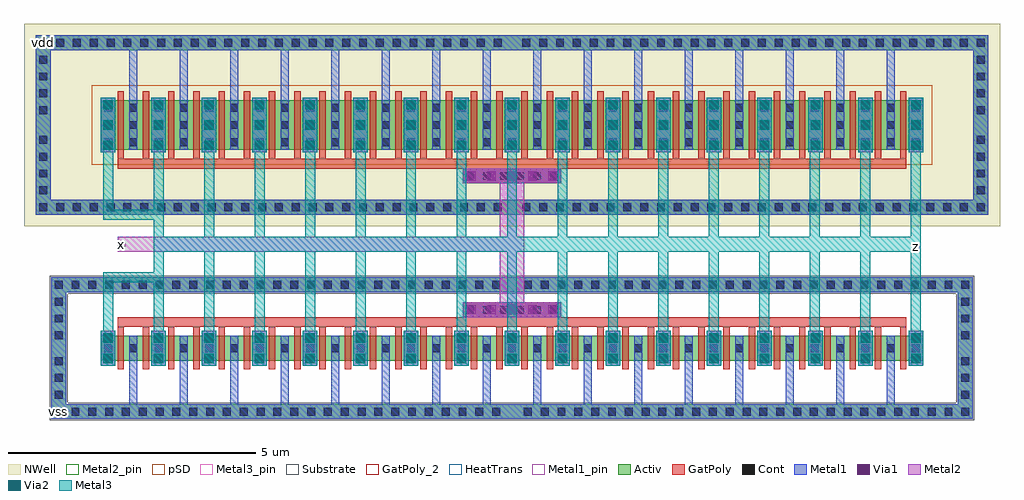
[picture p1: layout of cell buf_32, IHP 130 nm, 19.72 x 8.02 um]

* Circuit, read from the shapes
.subckt buf_32 vdd vss x z
XM1 vss x z vss sg13_lv_nmos w=0.5u l=0.13u m=32
XM2 vdd x z vdd sg13_lv_pmos w=1u l=0.13u m=32
.ends

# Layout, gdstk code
import gdstk
lib = gdstk.Library(unit=1e-6, precision=1e-09)
def R(c, l, rs):  # rectangles x0, y0, x1, y1
    for r in rs: c.add(gdstk.rectangle(r[:2], r[2:], *l))
def A(c, l, x, y, w, h, nx, ny, dx, dy):  # array of equal rectangles
    R(c, l, [(x+i*dx, y+j*dy, x+i*dx+w, y+j*dy+h) for i in range(nx) for j in range(ny)])
def P(c, l, *ps):  # polygons
    for p in ps: c.add(gdstk.Polygon(p, *l))
Activ = (1, 0)
GatPoly = (5, 0)
GatPoly_2 = (5, 2)
Cont = (6, 0)
Metal1 = (8, 0)
Metal1_pin = (8, 2)
Metal2 = (10, 0)
Metal2_pin = (10, 2)
pSD = (14, 0)
Via1 = (19, 0)
Via2 = (29, 0)
Metal3 = (30, 0)
Metal3_pin = (30, 2)
NWell = (31, 0)
Substrate = (40, 0)
HeatTrans = (51, 0)

pmos_5 = lib.new_cell('pmos$5')
A(pmos_5, Activ, 0, 0, 0.3, 0.3, 33, 1, 0.51, 0)
R(pmos_5, Activ, [(-1.31,-1.01,-1.01,2.01), (17.63,-1.01,17.93,2.01), (0,0,16.62,1), (-1.31,2.01,17.93,2.31)])
P(pmos_5, Activ, [(-1.31,-1.31),(-1.31,2.01),(-1.01,2.01),(-1.01,-1.01),(17.63,-1.01),(17.63,2.01),(-1.31,2.01),(-1.31,2.31),(17.93,2.31),(17.93,-1.31)])
A(pmos_5, GatPoly, 0.34, -0.18, 0.13, 1.36, 32, 1, 0.51, 0)
R(pmos_5, GatPoly, [(0.34,-0.18,0.47,1.18)])
A(pmos_5, Cont, -1.24, -1.24, 0.16, 0.16, 28, 2, 0.34, 3.32)
A(pmos_5, Cont, 8.52, -1.24, 0.16, 0.16, 28, 2, 0.34, 3.32)
A(pmos_5, Cont, -1.24, -0.9, 0.16, 0.16, 1, 4, 0, 0.34)
A(pmos_5, Cont, 17.7, -0.9, 0.16, 0.16, 1, 4, 0, 0.34)
A(pmos_5, Cont, 0.07, 0.07, 0.16, 0.16, 33, 3, 0.51, 0.35)
A(pmos_5, Cont, -1.24, 0.72, 0.16, 0.16, 1, 4, 0, 0.34)
A(pmos_5, Cont, 17.7, 0.72, 0.16, 0.16, 1, 4, 0, 0.34)
A(pmos_5, Metal1, 0.58, 0, 0.16, 1, 32, 1, 0.51, 0)
R(pmos_5, Metal1, [(-1.31,-1.31,17.93,-1.01), (-1.31,-1.01,-1.01,2.01), (17.63,-1.01,17.93,2.01), (0.07,0,0.23,1), (0.07,0,0.23,1), (0.58,0,0.74,1), (-1.31,2.01,17.93,2.31)])
R(pmos_5, pSD, [(-0.18,-0.3,16.8,1.3)])
R(pmos_5, NWell, [(-1.55,-1.55,18.17,2.55), (-0.31,-0.31,16.93,1.31)])
R(pmos_5, Substrate, [(16.32,0,16.62,0.3)])
A(pmos_5, HeatTrans, 0.34, -0.18, 0.13, 1.36, 32, 1, 0.51, 0)
pmos_5.add(gdstk.Label('pmos', (0.405,0.5), layer=63, texttype=0))
pmos_5.add(gdstk.Label('well', (8.31,-1.16), layer=63, texttype=0))
pmos_5.add(gdstk.Label('pmos', (0.405,0.5), layer=51, texttype=0))
pmos_5.add(gdstk.Label('pmos', (0.915,0.5), layer=51, texttype=0))
pmos_5.add(gdstk.Label('pmos', (1.425,0.5), layer=51, texttype=0))
pmos_5.add(gdstk.Label('pmos', (1.935,0.5), layer=51, texttype=0))
pmos_5.add(gdstk.Label('pmos', (2.445,0.5), layer=51, texttype=0))
pmos_5.add(gdstk.Label('pmos', (2.955,0.5), layer=51, texttype=0))
pmos_5.add(gdstk.Label('pmos', (3.465,0.5), layer=51, texttype=0))
pmos_5.add(gdstk.Label('pmos', (3.975,0.5), layer=51, texttype=0))
pmos_5.add(gdstk.Label('pmos', (4.485,0.5), layer=51, texttype=0))
pmos_5.add(gdstk.Label('pmos', (4.995,0.5), layer=51, texttype=0))
pmos_5.add(gdstk.Label('pmos', (5.505,0.5), layer=51, texttype=0))
pmos_5.add(gdstk.Label('pmos', (6.015,0.5), layer=51, texttype=0))
pmos_5.add(gdstk.Label('pmos', (6.525,0.5), layer=51, texttype=0))
pmos_5.add(gdstk.Label('pmos', (7.035,0.5), layer=51, texttype=0))
pmos_5.add(gdstk.Label('pmos', (7.545,0.5), layer=51, texttype=0))
pmos_5.add(gdstk.Label('pmos', (8.055,0.5), layer=51, texttype=0))
pmos_5.add(gdstk.Label('pmos', (8.565,0.5), layer=51, texttype=0))
pmos_5.add(gdstk.Label('pmos', (9.075,0.5), layer=51, texttype=0))
pmos_5.add(gdstk.Label('pmos', (9.585,0.5), layer=51, texttype=0))
pmos_5.add(gdstk.Label('pmos', (10.095,0.5), layer=51, texttype=0))
pmos_5.add(gdstk.Label('pmos', (10.605,0.5), layer=51, texttype=0))
pmos_5.add(gdstk.Label('pmos', (11.115,0.5), layer=51, texttype=0))
pmos_5.add(gdstk.Label('pmos', (11.625,0.5), layer=51, texttype=0))
pmos_5.add(gdstk.Label('pmos', (12.135,0.5), layer=51, texttype=0))
pmos_5.add(gdstk.Label('pmos', (12.645,0.5), layer=51, texttype=0))
pmos_5.add(gdstk.Label('pmos', (13.155,0.5), layer=51, texttype=0))
pmos_5.add(gdstk.Label('pmos', (13.665,0.5), layer=51, texttype=0))
pmos_5.add(gdstk.Label('pmos', (14.175,0.5), layer=51, texttype=0))
pmos_5.add(gdstk.Label('pmos', (14.685,0.5), layer=51, texttype=0))
pmos_5.add(gdstk.Label('pmos', (15.195,0.5), layer=51, texttype=0))
pmos_5.add(gdstk.Label('pmos', (15.705,0.5), layer=51, texttype=0))
pmos_5.add(gdstk.Label('pmos', (16.215,0.5), layer=51, texttype=0))

nmos_10 = lib.new_cell('nmos$10')
A(nmos_10, Activ, 0, 0, 0.3, 0.3, 33, 1, 0.51, 0)
R(nmos_10, Activ, [(-1,-0.88,-0.7,1.38), (17.32,-0.88,17.62,1.38), (0,0,16.62,0.5), (-1,1.38,17.62,1.68)])
P(nmos_10, Activ, [(-1,-1.18),(-1,1.38),(-0.7,1.38),(-0.7,-0.88),(17.32,-0.88),(17.32,1.38),(-1,1.38),(-1,1.68),(17.62,1.68),(17.62,-1.18)])
A(nmos_10, GatPoly, 0.34, -0.18, 0.13, 0.86, 32, 1, 0.51, 0)
R(nmos_10, GatPoly_2, [(0.34,-0.18,0.47,0.68)])
A(nmos_10, Cont, -0.93, -1.11, 0.16, 0.16, 27, 2, 0.34, 2.56)
A(nmos_10, Cont, 8.55, -1.11, 0.16, 0.16, 27, 2, 0.34, 2.56)
A(nmos_10, Cont, -0.93, -0.77, 0.16, 0.16, 1, 3, 0, 0.34)
A(nmos_10, Cont, 17.39, -0.77, 0.16, 0.16, 1, 3, 0, 0.34)
A(nmos_10, Cont, 0.07, 0.17, 0.16, 0.16, 33, 1, 0.51, 0)
A(nmos_10, Cont, -0.93, 0.43, 0.16, 0.16, 1, 3, 0, 0.34)
A(nmos_10, Cont, 17.39, 0.43, 0.16, 0.16, 1, 3, 0, 0.34)
A(nmos_10, Metal1, 0.07, 0, 0.16, 0.5, 33, 1, 0.51, 0)
R(nmos_10, Metal1, [(-1,-1.18,17.62,-0.88), (-1,-0.88,-0.7,1.38), (17.32,-0.88,17.62,1.38), (-1,1.38,17.62,1.68)])
R(nmos_10, Metal1_pin, [(0.07,0,0.23,0.5), (0.58,0,0.74,0.5)])
R(nmos_10, pSD, [(-1.03,-0.85,-0.67,1.35), (17.29,-0.85,17.65,1.35), (-1.03,1.35,17.65,1.71)])
P(nmos_10, pSD, [(-1.03,-1.21),(-1.03,1.35),(-0.67,1.35),(-0.67,-0.85),(17.29,-0.85),(17.29,1.35),(-1.03,1.35),(-1.03,1.71),(17.65,1.71),(17.65,-1.21)])
R(nmos_10, Substrate, [(-1.03,-0.85,-0.67,1.35), (17.29,-0.85,17.65,1.35), (-1.03,1.35,17.65,1.71)])
P(nmos_10, Substrate, [(-1.03,-1.21),(-1.03,1.35),(-0.67,1.35),(-0.67,-0.85),(17.29,-0.85),(17.29,1.35),(-1.03,1.35),(-1.03,1.71),(17.65,1.71),(17.65,-1.21)])
A(nmos_10, HeatTrans, 0.34, -0.18, 0.13, 0.86, 32, 1, 0.51, 0)
nmos_10.add(gdstk.Label('nmos', (0.405,0.25), layer=63, texttype=0))
nmos_10.add(gdstk.Label('sub!', (8.31,-1.03), layer=63, texttype=0))
nmos_10.add(gdstk.Label('nmos', (0.405,0.25), layer=51, texttype=0))
nmos_10.add(gdstk.Label('nmos', (0.915,0.25), layer=51, texttype=0))
nmos_10.add(gdstk.Label('nmos', (1.425,0.25), layer=51, texttype=0))
nmos_10.add(gdstk.Label('nmos', (1.935,0.25), layer=51, texttype=0))
nmos_10.add(gdstk.Label('nmos', (2.445,0.25), layer=51, texttype=0))
nmos_10.add(gdstk.Label('nmos', (2.955,0.25), layer=51, texttype=0))
nmos_10.add(gdstk.Label('nmos', (3.465,0.25), layer=51, texttype=0))
nmos_10.add(gdstk.Label('nmos', (3.975,0.25), layer=51, texttype=0))
nmos_10.add(gdstk.Label('nmos', (4.485,0.25), layer=51, texttype=0))
nmos_10.add(gdstk.Label('nmos', (4.995,0.25), layer=51, texttype=0))
nmos_10.add(gdstk.Label('nmos', (5.505,0.25), layer=51, texttype=0))
nmos_10.add(gdstk.Label('nmos', (6.015,0.25), layer=51, texttype=0))
nmos_10.add(gdstk.Label('nmos', (6.525,0.25), layer=51, texttype=0))
nmos_10.add(gdstk.Label('nmos', (7.035,0.25), layer=51, texttype=0))
nmos_10.add(gdstk.Label('nmos', (7.545,0.25), layer=51, texttype=0))
nmos_10.add(gdstk.Label('nmos', (8.055,0.25), layer=51, texttype=0))
nmos_10.add(gdstk.Label('nmos', (8.565,0.25), layer=51, texttype=0))
nmos_10.add(gdstk.Label('nmos', (9.075,0.25), layer=51, texttype=0))
nmos_10.add(gdstk.Label('nmos', (9.585,0.25), layer=51, texttype=0))
nmos_10.add(gdstk.Label('nmos', (10.095,0.25), layer=51, texttype=0))
nmos_10.add(gdstk.Label('nmos', (10.605,0.25), layer=51, texttype=0))
nmos_10.add(gdstk.Label('nmos', (11.115,0.25), layer=51, texttype=0))
nmos_10.add(gdstk.Label('nmos', (11.625,0.25), layer=51, texttype=0))
nmos_10.add(gdstk.Label('nmos', (12.135,0.25), layer=51, texttype=0))
nmos_10.add(gdstk.Label('nmos', (12.645,0.25), layer=51, texttype=0))
nmos_10.add(gdstk.Label('nmos', (13.155,0.25), layer=51, texttype=0))
nmos_10.add(gdstk.Label('nmos', (13.665,0.25), layer=51, texttype=0))
nmos_10.add(gdstk.Label('nmos', (14.175,0.25), layer=51, texttype=0))
nmos_10.add(gdstk.Label('nmos', (14.685,0.25), layer=51, texttype=0))
nmos_10.add(gdstk.Label('nmos', (15.195,0.25), layer=51, texttype=0))
nmos_10.add(gdstk.Label('nmos', (15.705,0.25), layer=51, texttype=0))
nmos_10.add(gdstk.Label('nmos', (16.215,0.25), layer=51, texttype=0))

via_6 = lib.new_cell('Via$6')
R(via_6, GatPoly, [(-1,-0.15,1,0.15)])
A(via_6, Cont, -0.93, -0.08, 0.16, 0.16, 6, 1, 0.34, 0)
R(via_6, Metal1, [(-1,-0.15,1,0.15)])

via_5 = lib.new_cell('Via$5')
R(via_5, Metal1, [(-1,-0.15,1,0.15)])
R(via_5, Metal2, [(-1,-0.15,1,0.15)])
A(via_5, Via1, -0.915, -0.095, 0.19, 0.19, 5, 1, 0.41, 0)

via_stack_8 = lib.new_cell('via_stack$8')
R(via_stack_8, Metal1, [(-0.145,-0.555,0.145,0.555)])
R(via_stack_8, Metal2, [(-0.145,-0.555,0.145,0.555)])
A(via_stack_8, Via1, -0.095, -0.505, 0.19, 0.19, 1, 3, 0, 0.41)
A(via_stack_8, Via2, -0.095, -0.505, 0.19, 0.19, 1, 3, 0, 0.41)
R(via_stack_8, Metal3, [(-0.145,-0.555,0.145,0.555)])

via_stack_7 = lib.new_cell('via_stack$7')
R(via_stack_7, Metal1, [(-0.145,-0.35,0.145,0.35)])
R(via_stack_7, Metal2, [(-0.145,-0.35,0.145,0.35)])
R(via_stack_7, Via1, [(-0.095,-0.3,0.095,-0.11), (-0.095,0.11,0.095,0.3)])
R(via_stack_7, Via2, [(-0.095,-0.3,0.095,-0.11), (-0.095,0.11,0.095,0.3)])
R(via_stack_7, Metal3, [(-0.145,-0.35,0.145,0.35)])

buf_32 = lib.new_cell('buf_32')
R(buf_32, Metal1_pin, [(0.635,0.115,0.765,0.245), (0.325,7.565,0.455,7.695)])
R(buf_32, Metal2_pin, [(1.915,3.495,2.045,3.625)])
R(buf_32, Metal3_pin, [(17.955,3.455,18.085,3.585)])
buf_32.add(gdstk.FlexPath([(1.89,3.56),(10.11,3.56)], 0.3, ends="flush", simple_path=True, layer=10, datatype=0))  # Metal2
buf_32.add(gdstk.FlexPath([(9.86,2.24),(9.86,4.94)], 0.5, ends="flush", simple_path=True, layer=10, datatype=0))  # Metal2
buf_32.add(gdstk.FlexPath([(1.7,5.47),(1.7,4.16),(2.8,4.16)], 0.2, ends="flush", simple_path=True, layer=30, datatype=0))  # Metal3
buf_32.add(gdstk.FlexPath([(2.72,5.47),(2.72,1.71)], 0.2, ends="flush", simple_path=True, layer=30, datatype=0))  # Metal3
buf_32.add(gdstk.FlexPath([(3.74,5.47),(3.74,1.71)], 0.2, ends="flush", simple_path=True, layer=30, datatype=0))  # Metal3
buf_32.add(gdstk.FlexPath([(4.76,5.47),(4.76,1.71)], 0.2, ends="flush", simple_path=True, layer=30, datatype=0))  # Metal3
buf_32.add(gdstk.FlexPath([(5.78,5.47),(5.78,1.71)], 0.2, ends="flush", simple_path=True, layer=30, datatype=0))  # Metal3
buf_32.add(gdstk.FlexPath([(6.8,5.47),(6.8,1.71)], 0.2, ends="flush", simple_path=True, layer=30, datatype=0))  # Metal3
buf_32.add(gdstk.FlexPath([(7.82,5.47),(7.82,1.71)], 0.2, ends="flush", simple_path=True, layer=30, datatype=0))  # Metal3
buf_32.add(gdstk.FlexPath([(8.84,5.47),(8.84,1.71)], 0.2, ends="flush", simple_path=True, layer=30, datatype=0))  # Metal3
buf_32.add(gdstk.FlexPath([(9.86,5.47),(9.86,1.71)], 0.2, ends="flush", simple_path=True, layer=30, datatype=0))  # Metal3
buf_32.add(gdstk.FlexPath([(10.88,5.47),(10.88,1.71)], 0.2, ends="flush", simple_path=True, layer=30, datatype=0))  # Metal3
buf_32.add(gdstk.FlexPath([(11.9,5.47),(11.9,1.71)], 0.2, ends="flush", simple_path=True, layer=30, datatype=0))  # Metal3
buf_32.add(gdstk.FlexPath([(12.92,5.47),(12.92,1.71)], 0.2, ends="flush", simple_path=True, layer=30, datatype=0))  # Metal3
buf_32.add(gdstk.FlexPath([(13.94,5.47),(13.94,1.71)], 0.2, ends="flush", simple_path=True, layer=30, datatype=0))  # Metal3
buf_32.add(gdstk.FlexPath([(14.96,5.47),(14.96,1.71)], 0.2, ends="flush", simple_path=True, layer=30, datatype=0))  # Metal3
buf_32.add(gdstk.FlexPath([(15.98,5.47),(15.98,1.71)], 0.2, ends="flush", simple_path=True, layer=30, datatype=0))  # Metal3
buf_32.add(gdstk.FlexPath([(17,5.47),(17,1.71)], 0.2, ends="flush", simple_path=True, layer=30, datatype=0))  # Metal3
buf_32.add(gdstk.FlexPath([(18.02,5.47),(18.02,1.71)], 0.2, ends="flush", simple_path=True, layer=30, datatype=0))  # Metal3
buf_32.add(gdstk.FlexPath([(1.7,1.71),(1.7,2.89),(2.8,2.89)], 0.2, ends="flush", simple_path=True, layer=30, datatype=0))  # Metal3
buf_32.add(gdstk.FlexPath([(18.12,3.56),(2.62,3.56)], 0.3, ends="flush", simple_path=True, layer=30, datatype=0))  # Metal3
buf_32.add(gdstk.FlexPath([(2.21,6.47),(2.21,7.78)], 0.16, ends="flush", simple_path=True, layer=8, datatype=0))  # Metal1
buf_32.add(gdstk.FlexPath([(3.23,6.47),(3.23,7.78)], 0.16, ends="flush", simple_path=True, layer=8, datatype=0))  # Metal1
buf_32.add(gdstk.FlexPath([(4.25,6.47),(4.25,7.78)], 0.16, ends="flush", simple_path=True, layer=8, datatype=0))  # Metal1
buf_32.add(gdstk.FlexPath([(5.27,6.47),(5.27,7.78)], 0.16, ends="flush", simple_path=True, layer=8, datatype=0))  # Metal1
buf_32.add(gdstk.FlexPath([(6.29,6.47),(6.29,7.78)], 0.16, ends="flush", simple_path=True, layer=8, datatype=0))  # Metal1
buf_32.add(gdstk.FlexPath([(7.31,6.47),(7.31,7.78)], 0.16, ends="flush", simple_path=True, layer=8, datatype=0))  # Metal1
buf_32.add(gdstk.FlexPath([(8.33,6.47),(8.33,7.78)], 0.16, ends="flush", simple_path=True, layer=8, datatype=0))  # Metal1
buf_32.add(gdstk.FlexPath([(9.35,6.47),(9.35,7.78)], 0.16, ends="flush", simple_path=True, layer=8, datatype=0))  # Metal1
buf_32.add(gdstk.FlexPath([(10.37,6.47),(10.37,7.78)], 0.16, ends="flush", simple_path=True, layer=8, datatype=0))  # Metal1
buf_32.add(gdstk.FlexPath([(11.39,6.47),(11.39,7.78)], 0.16, ends="flush", simple_path=True, layer=8, datatype=0))  # Metal1
buf_32.add(gdstk.FlexPath([(12.41,6.47),(12.41,7.78)], 0.16, ends="flush", simple_path=True, layer=8, datatype=0))  # Metal1
buf_32.add(gdstk.FlexPath([(13.43,6.47),(13.43,7.78)], 0.16, ends="flush", simple_path=True, layer=8, datatype=0))  # Metal1
buf_32.add(gdstk.FlexPath([(14.45,6.47),(14.45,7.78)], 0.16, ends="flush", simple_path=True, layer=8, datatype=0))  # Metal1
buf_32.add(gdstk.FlexPath([(15.47,6.47),(15.47,7.78)], 0.16, ends="flush", simple_path=True, layer=8, datatype=0))  # Metal1
buf_32.add(gdstk.FlexPath([(16.49,6.47),(16.49,7.78)], 0.16, ends="flush", simple_path=True, layer=8, datatype=0))  # Metal1
buf_32.add(gdstk.FlexPath([(17.51,6.47),(17.51,7.78)], 0.16, ends="flush", simple_path=True, layer=8, datatype=0))  # Metal1
buf_32.add(gdstk.FlexPath([(2.21,0.03),(2.21,1.21)], 0.16, ends="flush", simple_path=True, layer=8, datatype=0))  # Metal1
buf_32.add(gdstk.FlexPath([(3.23,0.03),(3.23,1.21)], 0.16, ends="flush", simple_path=True, layer=8, datatype=0))  # Metal1
buf_32.add(gdstk.FlexPath([(4.25,0.03),(4.25,1.21)], 0.16, ends="flush", simple_path=True, layer=8, datatype=0))  # Metal1
buf_32.add(gdstk.FlexPath([(5.27,0.03),(5.27,1.21)], 0.16, ends="flush", simple_path=True, layer=8, datatype=0))  # Metal1
buf_32.add(gdstk.FlexPath([(6.29,0.03),(6.29,1.21)], 0.16, ends="flush", simple_path=True, layer=8, datatype=0))  # Metal1
buf_32.add(gdstk.FlexPath([(7.31,0.03),(7.31,1.21)], 0.16, ends="flush", simple_path=True, layer=8, datatype=0))  # Metal1
buf_32.add(gdstk.FlexPath([(8.33,0.03),(8.33,1.21)], 0.16, ends="flush", simple_path=True, layer=8, datatype=0))  # Metal1
buf_32.add(gdstk.FlexPath([(9.35,0.03),(9.35,1.21)], 0.16, ends="flush", simple_path=True, layer=8, datatype=0))  # Metal1
buf_32.add(gdstk.FlexPath([(10.37,0.03),(10.37,1.21)], 0.16, ends="flush", simple_path=True, layer=8, datatype=0))  # Metal1
buf_32.add(gdstk.FlexPath([(11.39,0.03),(11.39,1.21)], 0.16, ends="flush", simple_path=True, layer=8, datatype=0))  # Metal1
buf_32.add(gdstk.FlexPath([(12.41,0.03),(12.41,1.21)], 0.16, ends="flush", simple_path=True, layer=8, datatype=0))  # Metal1
buf_32.add(gdstk.FlexPath([(13.43,0.03),(13.43,1.21)], 0.16, ends="flush", simple_path=True, layer=8, datatype=0))  # Metal1
buf_32.add(gdstk.FlexPath([(14.45,0.03),(14.45,1.21)], 0.16, ends="flush", simple_path=True, layer=8, datatype=0))  # Metal1
buf_32.add(gdstk.FlexPath([(15.47,0.03),(15.47,1.21)], 0.16, ends="flush", simple_path=True, layer=8, datatype=0))  # Metal1
buf_32.add(gdstk.FlexPath([(16.49,0.03),(16.49,1.21)], 0.16, ends="flush", simple_path=True, layer=8, datatype=0))  # Metal1
buf_32.add(gdstk.FlexPath([(17.51,0.03),(17.51,1.21)], 0.16, ends="flush", simple_path=True, layer=8, datatype=0))  # Metal1
buf_32.add(gdstk.FlexPath([(1.89,5.19),(17.83,5.19)], 0.2, ends="flush", simple_path=True, layer=5, datatype=0))  # GatPoly
buf_32.add(gdstk.FlexPath([(1.89,1.99),(17.83,1.99)], 0.2, ends="flush", simple_path=True, layer=5, datatype=0))  # GatPoly
buf_32.add(gdstk.Reference(pmos_5, (1.55,5.47)))
buf_32.add(gdstk.Reference(nmos_10, (1.55,1.21)))
buf_32.add(gdstk.Reference(via_6, (9.86,4.94)))
buf_32.add(gdstk.Reference(via_6, (9.86,2.24)))
buf_32.add(gdstk.Reference(via_5, (9.86,4.94)))
buf_32.add(gdstk.Reference(via_5, (9.86,2.24)))
buf_32.add(gdstk.Reference(via_stack_8, (18.02,5.97)))
buf_32.add(gdstk.Reference(via_stack_8, (17,5.97)))
buf_32.add(gdstk.Reference(via_stack_8, (15.99,5.97)))
buf_32.add(gdstk.Reference(via_stack_8, (14.96,5.97)))
buf_32.add(gdstk.Reference(via_stack_8, (13.94,5.97)))
buf_32.add(gdstk.Reference(via_stack_8, (12.92,5.97)))
buf_32.add(gdstk.Reference(via_stack_8, (11.9,5.97)))
buf_32.add(gdstk.Reference(via_stack_8, (10.88,5.97)))
buf_32.add(gdstk.Reference(via_stack_8, (9.86,5.97)))
buf_32.add(gdstk.Reference(via_stack_8, (8.84,5.97)))
buf_32.add(gdstk.Reference(via_stack_8, (7.82,5.97)))
buf_32.add(gdstk.Reference(via_stack_8, (6.8,5.97)))
buf_32.add(gdstk.Reference(via_stack_8, (5.78,5.97)))
buf_32.add(gdstk.Reference(via_stack_8, (4.76,5.97)))
buf_32.add(gdstk.Reference(via_stack_8, (3.74,5.97)))
buf_32.add(gdstk.Reference(via_stack_8, (2.72,5.97)))
buf_32.add(gdstk.Reference(via_stack_8, (1.7,5.97)))
buf_32.add(gdstk.Reference(via_stack_7, (18.02,1.46)))
buf_32.add(gdstk.Reference(via_stack_7, (17,1.46)))
buf_32.add(gdstk.Reference(via_stack_7, (15.99,1.46)))
buf_32.add(gdstk.Reference(via_stack_7, (14.96,1.46)))
buf_32.add(gdstk.Reference(via_stack_7, (13.94,1.46)))
buf_32.add(gdstk.Reference(via_stack_7, (12.92,1.46)))
buf_32.add(gdstk.Reference(via_stack_7, (11.9,1.46)))
buf_32.add(gdstk.Reference(via_stack_7, (10.88,1.46)))
buf_32.add(gdstk.Reference(via_stack_7, (9.86,1.46)))
buf_32.add(gdstk.Reference(via_stack_7, (8.84,1.46)))
buf_32.add(gdstk.Reference(via_stack_7, (7.82,1.46)))
buf_32.add(gdstk.Reference(via_stack_7, (6.8,1.46)))
buf_32.add(gdstk.Reference(via_stack_7, (5.78,1.46)))
buf_32.add(gdstk.Reference(via_stack_7, (4.76,1.46)))
buf_32.add(gdstk.Reference(via_stack_7, (3.74,1.46)))
buf_32.add(gdstk.Reference(via_stack_7, (2.72,1.46)))
buf_32.add(gdstk.Reference(via_stack_7, (1.7,1.46)))
buf_32.add(gdstk.Label('vdd', (0.39,7.63), layer=8, texttype=25))
buf_32.add(gdstk.Label('vss', (0.7,0.18), layer=8, texttype=25))
buf_32.add(gdstk.Label('x', (1.98,3.56), layer=10, texttype=25))
buf_32.add(gdstk.Label('z', (18.02,3.52), layer=30, texttype=25))

lib.write_gds('buf_32.gds')
